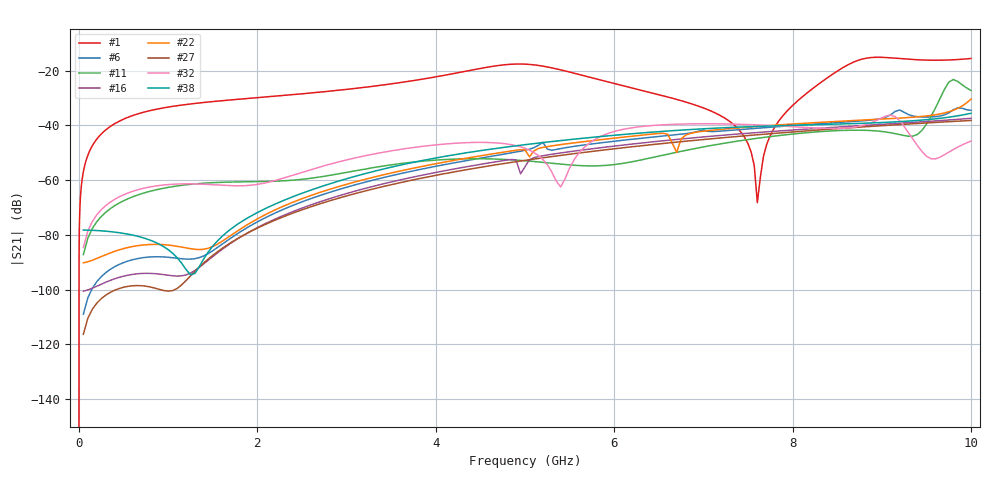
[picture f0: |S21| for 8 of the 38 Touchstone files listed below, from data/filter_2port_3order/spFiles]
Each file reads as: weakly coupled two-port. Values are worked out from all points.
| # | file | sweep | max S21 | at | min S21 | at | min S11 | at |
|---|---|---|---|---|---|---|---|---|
| 1 | arlaBPF_pixelSize18_fc=5.6GHz_BW=120MHz_v2.s2p | 9.691 Hz to 10 GHz | -15.12 dB | 8.958 GHz | -191.1 dB | 9.691 Hz | -7.0 dB | 8.767 GHz |
| 2 | randomGDSSteppedImpFilter_Type=butter_order=3_pixelSize=18_sim=0.s2p | 50 MHz to 10 GHz | -36.63 dB | 10 GHz | -112.3 dB | 50 MHz | -0.6 dB | 10 GHz |
| 3 | randomGDSSteppedImpFilter_Type=butter_order=3_pixelSize=18_sim=1.s2p | 50 MHz to 10 GHz | -37.62 dB | 10 GHz | -116.4 dB | 50 MHz | -0.5 dB | 10 GHz |
| 4 | randomGDSSteppedImpFilter_Type=butter_order=3_pixelSize=18_sim=2.s2p | 50 MHz to 10 GHz | -31.71 dB | 9.4 GHz | -107.8 dB | 50 MHz | -1.4 dB | 9.4 GHz |
| 5 | randomGDSSteppedImpFilter_Type=butter_order=3_pixelSize=18_sim=3.s2p | 50 MHz to 10 GHz | -17.77 dB | 6.15 GHz | -85.0 dB | 50 MHz | -5.4 dB | 7 GHz |
| 6 | randomGDSSteppedImpFilter_Type=butter_order=3_pixelSize=18_sim=4.s2p | 50 MHz to 10 GHz | -33.58 dB | 9.85 GHz | -109.0 dB | 50 MHz | -0.6 dB | 10 GHz |
| 7 | randomGDSSteppedImpFilter_Type=butter_order=3_pixelSize=18_sim=5.s2p | 50 MHz to 10 GHz | -37.02 dB | 10 GHz | -82.4 dB | 1.4 GHz | -0.6 dB | 8.5 GHz |
| 8 | randomGDSSteppedImpFilter_Type=butter_order=3_pixelSize=18_sim=6.s2p | 50 MHz to 10 GHz | -18.85 dB | 7.45 GHz | -68.1 dB | 50 MHz | -0.5 dB | 10 GHz |
| 9 | randomGDSSteppedImpFilter_Type=butter_order=3_pixelSize=18_sim=7.s2p | 50 MHz to 10 GHz | -38.27 dB | 10 GHz | -108.7 dB | 50 MHz | -0.4 dB | 10 GHz |
| 10 | randomGDSSteppedImpFilter_Type=butter_order=3_pixelSize=18_sim=8.s2p | 50 MHz to 10 GHz | -36.92 dB | 9.7 GHz | -83.9 dB | 1.4 GHz | -0.5 dB | 10 GHz |
| 11 | randomGDSSteppedImpFilter_Type=butter_order=3_pixelSize=18_sim=9.s2p | 50 MHz to 10 GHz | -23.25 dB | 9.8 GHz | -87.2 dB | 50 MHz | -5.2 dB | 9.75 GHz |
| 12 | randomGDSSteppedImpFilter_Type=butter_order=3_pixelSize=18_sim=10.s2p | 50 MHz to 10 GHz | -37.50 dB | 10 GHz | -95.8 dB | 1.35 GHz | -0.5 dB | 10 GHz |
| 13 | randomGDSSteppedImpFilter_Type=butter_order=3_pixelSize=18_sim=11.s2p | 50 MHz to 10 GHz | -37.37 dB | 10 GHz | -114.4 dB | 50 MHz | -0.5 dB | 10 GHz |
| 14 | randomGDSSteppedImpFilter_Type=butter_order=3_pixelSize=18_sim=12.s2p | 50 MHz to 10 GHz | -35.86 dB | 7.8 GHz | -79.6 dB | 50 MHz | -0.6 dB | 10 GHz |
| 15 | randomGDSSteppedImpFilter_Type=butter_order=3_pixelSize=18_sim=13.s2p | 50 MHz to 10 GHz | -20.62 dB | 10 GHz | -86.8 dB | 50 MHz | -3.6 dB | 10 GHz |
| 16 | randomGDSSteppedImpFilter_Type=butter_order=3_pixelSize=18_sim=14.s2p | 50 MHz to 10 GHz | -37.44 dB | 10 GHz | -100.6 dB | 50 MHz | -0.5 dB | 10 GHz |
| 17 | randomGDSSteppedImpFilter_Type=butter_order=3_pixelSize=18_sim=15.s2p | 50 MHz to 10 GHz | -35.93 dB | 8.6 GHz | -106.4 dB | 50 MHz | -1.0 dB | 8.65 GHz |
| 18 | randomGDSSteppedImpFilter_Type=butter_order=3_pixelSize=18_sim=16.s2p | 50 MHz to 10 GHz | -37.07 dB | 10 GHz | -108.6 dB | 50 MHz | -0.4 dB | 10 GHz |
| 19 | randomGDSSteppedImpFilter_Type=butter_order=3_pixelSize=18_sim=17.s2p | 50 MHz to 10 GHz | -37.76 dB | 10 GHz | -113.7 dB | 50 MHz | -0.5 dB | 10 GHz |
| 20 | randomGDSSteppedImpFilter_Type=butter_order=3_pixelSize=18_sim=18.s2p | 50 MHz to 10 GHz | -40.53 dB | 10 GHz | -98.8 dB | 50 MHz | -2.6 dB | 10 GHz |
| 21 | randomGDSSteppedImpFilter_Type=butter_order=3_pixelSize=18_sim=19.s2p | 50 MHz to 10 GHz | -37.00 dB | 10 GHz | -88.6 dB | 1.45 GHz | -0.4 dB | 10 GHz |
| 22 | randomGDSSteppedImpFilter_Type=butter_order=3_pixelSize=18_sim=20.s2p | 50 MHz to 10 GHz | -30.42 dB | 10 GHz | -90.3 dB | 50 MHz | -2.7 dB | 10 GHz |
| 23 | randomGDSSteppedImpFilter_Type=butter_order=3_pixelSize=18_sim=21.s2p | 50 MHz to 10 GHz | -22.19 dB | 10 GHz | -79.0 dB | 50 MHz | -1.9 dB | 10 GHz |
| 24 | randomGDSSteppedImpFilter_Type=butter_order=3_pixelSize=18_sim=22.s2p | 50 MHz to 10 GHz | -37.95 dB | 10 GHz | -103.3 dB | 50 MHz | -0.7 dB | 10 GHz |
| 25 | randomGDSSteppedImpFilter_Type=butter_order=3_pixelSize=18_sim=23.s2p | 50 MHz to 10 GHz | -30.58 dB | 9.9 GHz | -80.3 dB | 50 MHz | -0.4 dB | 9.95 GHz |
| 26 | randomGDSSteppedImpFilter_Type=butter_order=3_pixelSize=18_sim=24.s2p | 50 MHz to 10 GHz | -37.05 dB | 10 GHz | -111.6 dB | 50 MHz | -0.6 dB | 7.1 GHz |
| 27 | randomGDSSteppedImpFilter_Type=butter_order=3_pixelSize=18_sim=25.s2p | 50 MHz to 10 GHz | -38.22 dB | 10 GHz | -116.3 dB | 50 MHz | -0.4 dB | 10 GHz |
| 28 | randomGDSSteppedImpFilter_Type=butter_order=3_pixelSize=18_sim=26.s2p | 50 MHz to 10 GHz | -18.80 dB | 5.2 GHz | -87.8 dB | 50 MHz | -2.2 dB | 5.2 GHz |
| 29 | randomGDSSteppedImpFilter_Type=butter_order=3_pixelSize=18_sim=27.s2p | 50 MHz to 10 GHz | -34.36 dB | 10 GHz | -89.8 dB | 50 MHz | -0.6 dB | 10 GHz |
| 30 | randomGDSSteppedImpFilter_Type=butter_order=3_pixelSize=18_sim=28.s2p | 50 MHz to 10 GHz | -37.46 dB | 10 GHz | -110.3 dB | 50 MHz | -0.5 dB | 10 GHz |
| 31 | randomGDSSteppedImpFilter_Type=butter_order=3_pixelSize=18_sim=29.s2p | 50 MHz to 10 GHz | -41.81 dB | 10 GHz | -106.6 dB | 50 MHz | -0.4 dB | 10 GHz |
| 32 | randomGDSSteppedImpFilter_Type=butter_order=3_pixelSize=18_sim=30.s2p | 50 MHz to 10 GHz | -36.28 dB | 9.1 GHz | -84.6 dB | 50 MHz | -9.1 dB | 9.15 GHz |
| 33 | randomGDSSteppedImpFilter_Type=butter_order=3_pixelSize=18_sim=31.s2p | 50 MHz to 10 GHz | -25.98 dB | 9.8 GHz | -91.9 dB | 50 MHz | -0.6 dB | 9.75 GHz |
| 34 | randomGDSSteppedImpFilter_Type=butter_order=3_pixelSize=18_sim=32.s2p | 50 MHz to 10 GHz | -37.77 dB | 9.85 GHz | -105.6 dB | 50 MHz | -1.4 dB | 7.05 GHz |
| 35 | randomGDSSteppedImpFilter_Type=butter_order=3_pixelSize=18_sim=33.s2p | 50 MHz to 10 GHz | -32.93 dB | 9.2 GHz | -106.4 dB | 50 MHz | -0.6 dB | 10 GHz |
| 36 | randomGDSSteppedImpFilter_Type=butter_order=3_pixelSize=18_sim=34.s2p | 50 MHz to 10 GHz | -26.78 dB | 9.8 GHz | -75.0 dB | 50 MHz | -12.3 dB | 9.8 GHz |
| 37 | randomGDSSteppedImpFilter_Type=butter_order=3_pixelSize=18_sim=35.s2p | 50 MHz to 10 GHz | -27.96 dB | 8.6 GHz | -100.0 dB | 50 MHz | -0.8 dB | 10 GHz |
| 38 | randomGDSSteppedImpFilter_Type=butter_order=3_pixelSize=18_sim=36.s2p | 50 MHz to 10 GHz | -35.59 dB | 10 GHz | -94.6 dB | 1.25 GHz | -0.5 dB | 10 GHz |
